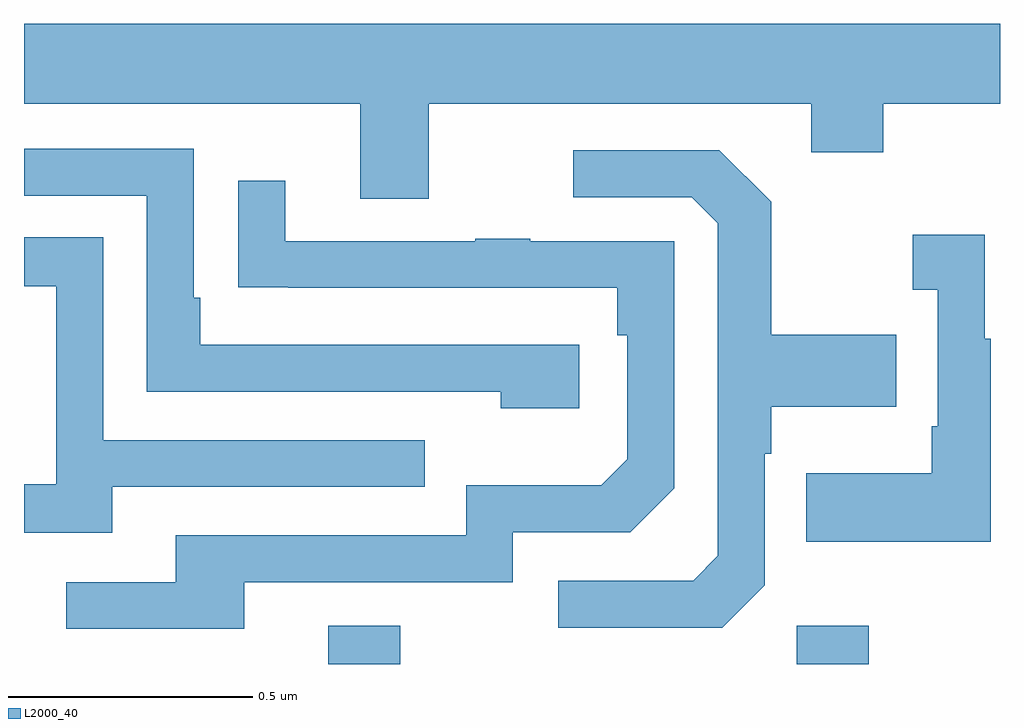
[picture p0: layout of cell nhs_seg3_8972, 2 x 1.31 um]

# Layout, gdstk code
import gdstk
lib = gdstk.Library(unit=1e-6, precision=1e-09)
def R(c, l, rs):  # rectangles x0, y0, x1, y1
    for r in rs: c.add(gdstk.rectangle(r[:2], r[2:], *l))
def P(c, l, *ps):  # polygons
    for p in ps: c.add(gdstk.Polygon(p, *l))
L2000_40 = (2000, 40)

nhs_seg3_8972 = lib.new_cell('nhs_seg3_8972')
R(nhs_seg3_8972, L2000_40, [(222.623,734.4,222.771,734.479), (223.584,734.4,223.731,734.479)])
P(nhs_seg3_8972, L2000_40, [(222.829,735.548),(223.613,735.548),(223.613,735.449),(223.761,735.449),(223.761,735.548),(224,735.548),(224,735.712),(222,735.712),(222,735.548),(222.689,735.548),(222.689,735.354),(222.829,735.354)],
  [(223.138,735.054),(222.361,735.054),(222.361,735.151),(222.348,735.151),(222.348,735.456),(222,735.456),(222,735.36),(222.252,735.36),(222.252,734.958),(222.977,734.958),(222.977,734.924),(223.138,734.924)],
  [(223.518,734.562),(223.518,734.831),(223.531,734.831),(223.531,734.927),(223.787,734.927),(223.787,735.075),(223.531,735.075),(223.531,735.347),(223.425,735.453),(223.125,735.453),(223.125,735.357),(223.368,735.357),(223.422,735.303),(223.422,734.622),(223.371,734.571),(223.095,734.571),(223.095,734.475),(223.431,734.475)],
  [(222.451,734.568),(223.002,734.568),(223.002,734.67),(223.242,734.67),(223.332,734.76),(223.332,735.267),(223.037,735.267),(223.037,735.272),(222.925,735.272),(222.925,735.267),(222.535,735.267),(222.535,735.391),(222.439,735.391),(222.439,735.172),(222.541,735.172),(222.541,735.171),(223.216,735.171),(223.216,735.074),(223.236,735.074),(223.236,734.82),(223.183,734.767),(222.906,734.767),(222.906,734.664),(222.311,734.664),(222.311,734.568),(222.087,734.568),(222.087,734.472),(222.451,734.472)],
  [(223.981,735.067),(223.969,735.067),(223.969,735.28),(223.821,735.28),(223.821,735.167),(223.872,735.167),(223.872,734.887),(223.86,734.887),(223.86,734.791),(223.603,734.791),(223.603,734.651),(223.981,734.651)],
  [(222.181,734.763),(222.821,734.763),(222.821,734.859),(222.162,734.859),(222.162,735.275),(222,735.275),(222,735.174),(222.066,735.174),(222.066,734.769),(222,734.769),(222,734.669),(222.181,734.669)])

lib.write_gds('nhs_seg3_8972.gds')
